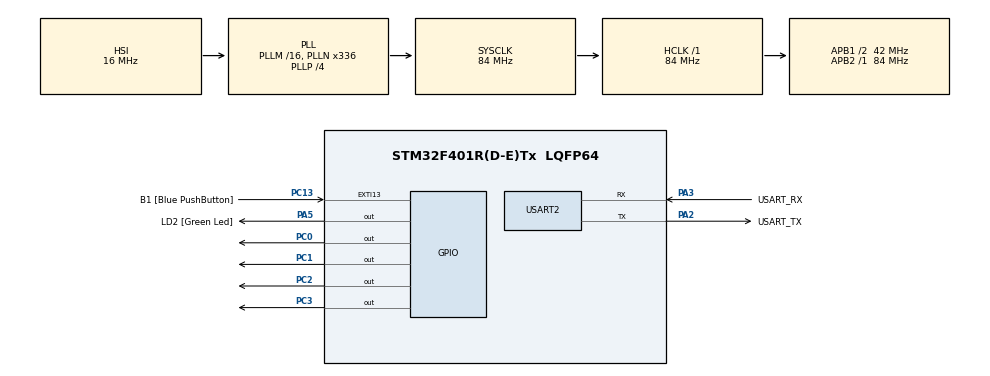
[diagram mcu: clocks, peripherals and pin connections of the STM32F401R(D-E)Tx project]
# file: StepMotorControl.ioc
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Mcu.Family=STM32F4
Mcu.Name=STM32F401R(D-E)Tx
Mcu.Package=LQFP64
NVIC.PriorityGroup=NVIC_PRIORITYGROUP_0
PA13.GPIO_Label=TMS
PA13.Mode=Serial_Wire
PA13.Signal=SYS_JTMS-SWDIO
PA14.GPIO_Label=TCK
PA14.Mode=Serial_Wire
PA14.Signal=SYS_JTCK-SWCLK
PA2.GPIO_Label=USART_TX
PA2.GPIO_Mode=GPIO_MODE_AF_PP
PA2.GPIO_PuPd=GPIO_NOPULL
PA2.GPIO_Speed=GPIO_SPEED_FREQ_LOW
PA2.Mode=Asynchronous
PA2.Signal=USART2_TX
PA3.GPIO_Label=USART_RX
PA3.GPIO_Mode=GPIO_MODE_AF_PP
PA3.GPIO_PuPd=GPIO_NOPULL
PA3.GPIO_Speed=GPIO_SPEED_FREQ_LOW
PA3.Mode=Asynchronous
PA3.Signal=USART2_RX
PA5.GPIO_Label=LD2 [Green Led]
PA5.GPIO_Mode=GPIO_MODE_OUTPUT_PP
PA5.GPIO_PuPd=GPIO_NOPULL
PA5.GPIO_Speed=GPIO_SPEED_FREQ_LOW
PA5.Signal=GPIO_Output
PB3.GPIO_Label=SWO
PB3.Signal=SYS_JTDO-SWO
PC0.Signal=GPIO_Output
PC1.Signal=GPIO_Output
PC13-ANTI_TAMP.GPIO_Label=B1 [Blue PushButton]
PC13-ANTI_TAMP.GPIO_ModeDefaultEXTI=GPIO_MODE_IT_FALLING
PC13-ANTI_TAMP.GPIO_PuPd=GPIO_NOPULL
PC13-ANTI_TAMP.Signal=GPXTI13
PC14-OSC32_IN.Mode=LSE-External-Oscillator
PC14-OSC32_IN.Signal=RCC_OSC32_IN
PC15-OSC32_OUT.Mode=LSE-External-Oscillator
PC15-OSC32_OUT.Signal=RCC_OSC32_OUT
PC2.Signal=GPIO_Output
PC3.Signal=GPIO_Output
PH0\ -\ OSC_IN.Mode=HSE-External-Clock-Source
PH0\ -\ OSC_IN.Signal=RCC_OSC_IN
PH1\ -\ OSC_OUT.Mode=HSE-External-Clock-Source
PH1\ -\ OSC_OUT.Signal=RCC_OSC_OUT
ProjectManager.HeapSize=0x200
ProjectManager.StackSize=0x400
ProjectManager.TargetToolchain=STM32CubeIDE
RCC.48MHZClocksFreq_Value=48000000
RCC.AHBFreq_Value=84000000
RCC.APB1CLKDivider=RCC_HCLK_DIV2
RCC.APB1Freq_Value=42000000
RCC.APB1TimFreq_Value=84000000
RCC.APB2Freq_Value=84000000
RCC.APB2TimFreq_Value=84000000
RCC.CortexFreq_Value=84000000
RCC.HCLKFreq_Value=84000000
RCC.HSE_VALUE=8000000
RCC.HSI_VALUE=16000000
RCC.PLLN=336
RCC.PLLP=RCC_PLLP_DIV4
RCC.PLLQ=7
RCC.SYSCLKFreq_VALUE=84000000
RCC.SYSCLKSource=RCC_SYSCLKSOURCE_PLLCLK
RCC.VCOOutputFreq_Value=336000000
TIM1.Period=0xffff- 1
TIM1.Prescaler=84-1
USART2.VirtualMode=VM_ASYNC
VP_TIM1_VS_ClockSourceINT.Mode=Internal
board=NUCLEO-F401RE

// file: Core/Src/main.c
/* USER CODE BEGIN Header */
/**
  ******************************************************************************
  * @file           : main.c
  * @brief          : Main program body
  ******************************************************************************
  * @attention
  *
  * Copyright (c) 2022 STMicroelectronics.
  * All rights reserved.
  *
  * This software is licensed under terms that can be found in the LICENSE file
  * in the root directory of this software component.
  * If no LICENSE file comes with this software, it is provided AS-IS.
  *
  ******************************************************************************
  */
/* USER CODE END Header */
#include "main.h"

TIM_HandleTypeDef htim1;

UART_HandleTypeDef huart2;

void SystemClock_Config(void);
static void MX_GPIO_Init(void);
static void MX_USART2_UART_Init(void);
static void MX_TIM1_Init(void);

/* USER CODE BEGIN 0 */
#define stepsperrev 4096

void delay(uint16_t us)
{
	__HAL_TIM_SET_COUNTER(&htim1, 0);
	while (__HAL_TIM_GET_COUNTER(&htim1) < us);
}

void stepper_set_rpm (int rpm)  // Set rpm--> max 13, min 1,,,  went to 14 rev/min
{
	delay(60000000/stepsperrev/rpm);
}

void stepper_half_drive (int step)
{
	switch (step){
		case 0:
			  HAL_GPIO_WritePin(GPIOC, GPIO_PIN_1, GPIO_PIN_SET);   // IN1
			  HAL_GPIO_WritePin(GPIOC, GPIO_PIN_2, GPIO_PIN_RESET);   // IN2
			  HAL_GPIO_WritePin(GPIOC, GPIO_PIN_3, GPIO_PIN_RESET);   // IN3
			  HAL_GPIO_WritePin(GPIOC, GPIO_PIN_4, GPIO_PIN_RESET);   // IN4
			  break;

		case 1:
			  HAL_GPIO_WritePin(GPIOC, GPIO_PIN_1, GPIO_PIN_SET);   // IN1
			  HAL_GPIO_WritePin(GPIOC, GPIO_PIN_2, GPIO_PIN_SET);   // IN2
			  HAL_GPIO_WritePin(GPIOC, GPIO_PIN_3, GPIO_PIN_RESET);   // IN3
			  HAL_GPIO_WritePin(GPIOC, GPIO_PIN_4, GPIO_PIN_RESET);   // IN4
			  break;

		case 2:
			  HAL_GPIO_WritePin(GPIOC, GPIO_PIN_1, GPIO_PIN_RESET);   // IN1
			  HAL_GPIO_WritePin(GPIOC, GPIO_PIN_2, GPIO_PIN_SET);   // IN2
			  HAL_GPIO_WritePin(GPIOC, GPIO_PIN_3, GPIO_PIN_RESET);   // IN3
			  HAL_GPIO_WritePin(GPIOC, GPIO_PIN_4, GPIO_PIN_RESET);   // IN4
			  break;

		case 3:
			  HAL_GPIO_WritePin(GPIOC, GPIO_PIN_1, GPIO_PIN_RESET);   // IN1
			  HAL_GPIO_WritePin(GPIOC, GPIO_PIN_2, GPIO_PIN_SET);   // IN2
			  HAL_GPIO_WritePin(GPIOC, GPIO_PIN_3, GPIO_PIN_SET);   // IN3
			  HAL_GPIO_WritePin(GPIOC, GPIO_PIN_4, GPIO_PIN_RESET);   // IN4
			  break;

		case 4:
			  HAL_GPIO_WritePin(GPIOC, GPIO_PIN_1, GPIO_PIN_RESET);   // IN1
			  HAL_GPIO_WritePin(GPIOC, GPIO_PIN_2, GPIO_PIN_RESET);   // IN2
			  HAL_GPIO_WritePin(GPIOC, GPIO_PIN_3, GPIO_PIN_SET);   // IN3
			  HAL_GPIO_WritePin(GPIOC, GPIO_PIN_4, GPIO_PIN_RESET);   // IN4
			  break;

		case 5:
			  HAL_GPIO_WritePin(GPIOC, GPIO_PIN_1, GPIO_PIN_RESET);   // IN1
			  HAL_GPIO_WritePin(GPIOC, GPIO_PIN_2, GPIO_PIN_RESET);   // IN2
			  HAL_GPIO_WritePin(GPIOC, GPIO_PIN_3, GPIO_PIN_SET);   // IN3
			  HAL_GPIO_WritePin(GPIOC, GPIO_PIN_4, GPIO_PIN_SET);   // IN4
			  break;

		case 6:
			  HAL_GPIO_WritePin(GPIOC, GPIO_PIN_1, GPIO_PIN_RESET);   // IN1
			  HAL_GPIO_WritePin(GPIOC, GPIO_PIN_2, GPIO_PIN_RESET);   // IN2
			  HAL_GPIO_WritePin(GPIOC, GPIO_PIN_3, GPIO_PIN_RESET);   // IN3
			  HAL_GPIO_WritePin(GPIOC, GPIO_PIN_4, GPIO_PIN_SET);   // IN4
			  break;

		case 7:
			  HAL_GPIO_WritePin(GPIOC, GPIO_PIN_1, GPIO_PIN_SET);   // IN1
			  HAL_GPIO_WritePin(GPIOC, GPIO_PIN_2, GPIO_PIN_RESET);   // IN2
			  HAL_GPIO_WritePin(GPIOC, GPIO_PIN_3, GPIO_PIN_RESET);   // IN3
			  HAL_GPIO_WritePin(GPIOC, GPIO_PIN_4, GPIO_PIN_SET);   // IN4
			  break;

		}
}

void stepper_step_angle (float angle, int direction, int rpm)
{
	float anglepersequence = 0.703125;  // 360 = 512 sequences
	int numberofsequences = (int) (angle/anglepersequence);

	for (int seq=0; seq<numberofsequences; seq++)
	{
		if (direction == 0)  // for clockwise
		{
			for (int step=7; step>=0; step--)
			{
				stepper_half_drive(step);
				stepper_set_rpm(rpm);
			}

		}

		else if (direction == 1)  // for anti-clockwise
		{
			for (int step=0; step<8; step++)
			{
				stepper_half_drive(step);
				stepper_set_rpm(rpm);
			}
		}
	}
}
/* USER CODE END 0 */

int main(void)
{

  /* MCU Configuration--------------------------------------------------------*/

  /* Reset of all peripherals, Initializes the Flash interface and the Systick. */
  HAL_Init();

  /* Configure the system clock */
  SystemClock_Config();

  /* Initialize all configured peripherals */
  MX_GPIO_Init();
  MX_USART2_UART_Init();
  MX_TIM1_Init();

  HAL_TIM_Base_Start(&htim1);

  /* Infinite loop */
  while (1)
  {

    /* USER CODE BEGIN 3 */
	  /*
	  for (int i=0; i<512; i++)
	  {
		  for (int i=0; i<8; i++)
		  {
			  stepper_half_drive(i);
			  stepper_set_rpm(5);
		  }
	  }
	  */

	  stepper_step_angle(45, 1, 10);

	  HAL_Delay(1000);
  }
  /* USER CODE END 3 */
}

void SystemClock_Config(void)
{
  RCC_OscInitTypeDef RCC_OscInitStruct = {0};
  RCC_ClkInitTypeDef RCC_ClkInitStruct = {0};

  /** Configure the main internal regulator output voltage
  */
  __HAL_RCC_PWR_CLK_ENABLE();
  __HAL_PWR_VOLTAGESCALING_CONFIG(PWR_REGULATOR_VOLTAGE_SCALE2);

  /** Initializes the RCC Oscillators according to the specified parameters
  * in the RCC_OscInitTypeDef structure.
  */
  RCC_OscInitStruct.OscillatorType = RCC_OSCILLATORTYPE_HSI;
  RCC_OscInitStruct.HSIState = RCC_HSI_ON;
  RCC_OscInitStruct.HSICalibrationValue = RCC_HSICALIBRATION_DEFAULT;
  RCC_OscInitStruct.PLL.PLLState = RCC_PLL_ON;
  RCC_OscInitStruct.PLL.PLLSource = RCC_PLLSOURCE_HSI;
  RCC_OscInitStruct.PLL.PLLM = 16;
  RCC_OscInitStruct.PLL.PLLN = 336;
  RCC_OscInitStruct.PLL.PLLP = RCC_PLLP_DIV4;
  RCC_OscInitStruct.PLL.PLLQ = 7;
  if (HAL_RCC_OscConfig(&RCC_OscInitStruct) != HAL_OK)
  {
    Error_Handler();
  }

  /** Initializes the CPU, AHB and APB buses clocks
  */
  RCC_ClkInitStruct.ClockType = RCC_CLOCKTYPE_HCLK|RCC_CLOCKTYPE_SYSCLK
                              |RCC_CLOCKTYPE_PCLK1|RCC_CLOCKTYPE_PCLK2;
  RCC_ClkInitStruct.SYSCLKSource = RCC_SYSCLKSOURCE_PLLCLK;
  RCC_ClkInitStruct.AHBCLKDivider = RCC_SYSCLK_DIV1;
  RCC_ClkInitStruct.APB1CLKDivider = RCC_HCLK_DIV2;
  RCC_ClkInitStruct.APB2CLKDivider = RCC_HCLK_DIV1;

  if (HAL_RCC_ClockConfig(&RCC_ClkInitStruct, FLASH_LATENCY_2) != HAL_OK)
  {
    Error_Handler();
  }
}

static void MX_TIM1_Init(void)
{

  TIM_ClockConfigTypeDef sClockSourceConfig = {0};
  TIM_MasterConfigTypeDef sMasterConfig = {0};

  htim1.Instance = TIM1;
  htim1.Init.Prescaler = 84-1;
  htim1.Init.CounterMode = TIM_COUNTERMODE_UP;
  htim1.Init.Period = 0xffff- 1;
  htim1.Init.ClockDivision = TIM_CLOCKDIVISION_DIV1;
  htim1.Init.RepetitionCounter = 0;
  htim1.Init.AutoReloadPreload = TIM_AUTORELOAD_PRELOAD_DISABLE;
  if (HAL_TIM_Base_Init(&htim1) != HAL_OK)
  {
    Error_Handler();
  }
  sClockSourceConfig.ClockSource = TIM_CLOCKSOURCE_INTERNAL;
  if (HAL_TIM_ConfigClockSource(&htim1, &sClockSourceConfig) != HAL_OK)
  {
    Error_Handler();
  }
  sMasterConfig.MasterOutputTrigger = TIM_TRGO_RESET;
  sMasterConfig.MasterSlaveMode = TIM_MASTERSLAVEMODE_DISABLE;
  if (HAL_TIMEx_MasterConfigSynchronization(&htim1, &sMasterConfig) != HAL_OK)
  {
    Error_Handler();
  }

}

static void MX_USART2_UART_Init(void)
{

  huart2.Instance = USART2;
  huart2.Init.BaudRate = 115200;
  huart2.Init.WordLength = UART_WORDLENGTH_8B;
  huart2.Init.StopBits = UART_STOPBITS_1;
  huart2.Init.Parity = UART_PARITY_NONE;
  huart2.Init.Mode = UART_MODE_TX_RX;
  huart2.Init.HwFlowCtl = UART_HWCONTROL_NONE;
  huart2.Init.OverSampling = UART_OVERSAMPLING_16;
  if (HAL_UART_Init(&huart2) != HAL_OK)
  {
    Error_Handler();
  }

}

static void MX_GPIO_Init(void)
{
  GPIO_InitTypeDef GPIO_InitStruct = {0};

  /* GPIO Ports Clock Enable */
  __HAL_RCC_GPIOC_CLK_ENABLE();
  __HAL_RCC_GPIOH_CLK_ENABLE();
  __HAL_RCC_GPIOA_CLK_ENABLE();
  __HAL_RCC_GPIOB_CLK_ENABLE();

  /*Configure GPIO pin Output Level */
  HAL_GPIO_WritePin(GPIOC, GPIO_PIN_0|GPIO_PIN_1|GPIO_PIN_2|GPIO_PIN_3, GPIO_PIN_RESET);

  /*Configure GPIO pin Output Level */
  HAL_GPIO_WritePin(LD2_GPIO_Port, LD2_Pin, GPIO_PIN_RESET);

  /*Configure GPIO pin : B1_Pin */
  GPIO_InitStruct.Pin = B1_Pin;
  GPIO_InitStruct.Mode = GPIO_MODE_IT_FALLING;
  GPIO_InitStruct.Pull = GPIO_NOPULL;
  HAL_GPIO_Init(B1_GPIO_Port, &GPIO_InitStruct);

  /*Configure GPIO pins : PC0 PC1 PC2 PC3 */
  GPIO_InitStruct.Pin = GPIO_PIN_0|GPIO_PIN_1|GPIO_PIN_2|GPIO_PIN_3;
  GPIO_InitStruct.Mode = GPIO_MODE_OUTPUT_PP;
  GPIO_InitStruct.Pull = GPIO_NOPULL;
  GPIO_InitStruct.Speed = GPIO_SPEED_FREQ_LOW;
  HAL_GPIO_Init(GPIOC, &GPIO_InitStruct);

  /*Configure GPIO pin : LD2_Pin */
  GPIO_InitStruct.Pin = LD2_Pin;
  GPIO_InitStruct.Mode = GPIO_MODE_OUTPUT_PP;
  GPIO_InitStruct.Pull = GPIO_NOPULL;
  GPIO_InitStruct.Speed = GPIO_SPEED_FREQ_LOW;
  HAL_GPIO_Init(LD2_GPIO_Port, &GPIO_InitStruct);

}

void Error_Handler(void)
{
  __disable_irq();
  while (1)
  {
  }
}
